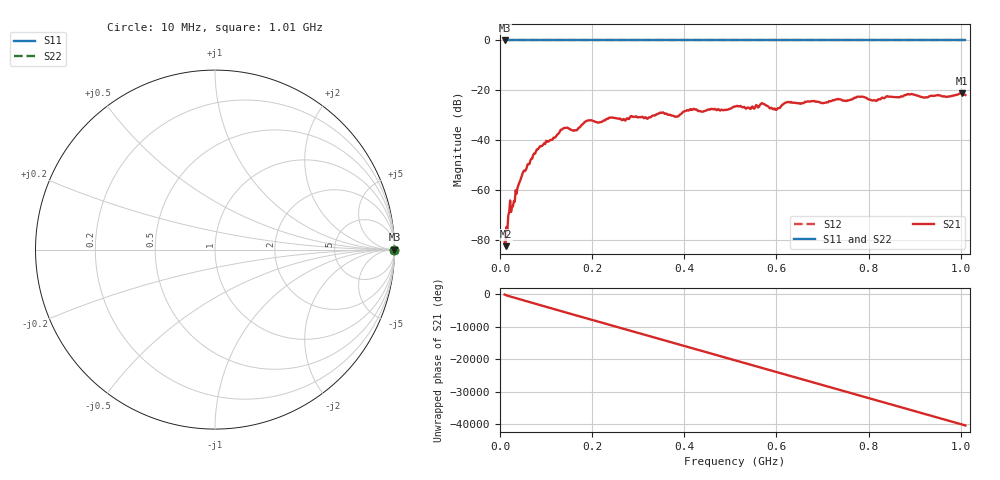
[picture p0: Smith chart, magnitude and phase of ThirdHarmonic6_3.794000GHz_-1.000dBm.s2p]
! 8/17/2025 1:06:44 PM
! C:\ANRITSUVNA\TEMP\TEMP.S2P
! CHANNEL.1
! TR.MEASUREMENT
! RAW.DATA
! RF.CORRECTION.OFF
! AVERAGING.OFF
! IF.BANDWIDTH: 5KHZ
! SWEEPTYPE:  FREQ.SWEEP(Linear)
! Reference Plane Port Info
! PORT:  PORT1  PORT2
! DISTANCE:  0  m  0  m
! TIME:  0  s  0  s
! PHASE.OFFSET:  0  deg.  0  deg.
! LOSS:  0  dB  0  dB
! REF.LOSS:  0  dB  0  dB
! REF.FREQ:  0  Hz  0  Hz
! Power Info
! POWER:  -20  dBm  -20  dBm
! EFF.POWER:  -20  dBm  -20  dBm
! SOURCE.ATTEN:  0  dB  0  dB
! TEST.ATTEN:  0  dB  0  dB
# GHZ S RI R 50.0
! FREQ.GHZ  S11RE  S11IM  S21RE  S21IM  S12RE  S12IM  S22RE  S22IM
!; PortSelection: Port_12
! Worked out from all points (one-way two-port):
!   501 points, 10 MHz to 1.01 GHz, reference 50 ohm
!   highest |S21| = -21.17 dB at 1.002 GHz (marker M1); lowest = -82.4 dB at 12 MHz (marker M2)
!   lowest |S11| = 0.0 dB at 10 MHz (marker M3)
!   |S11| at or under -10 dB: nowhere
!   |S22| runs from 0.0 to 0.0 dB; largest |S21 - S12| = 1.1
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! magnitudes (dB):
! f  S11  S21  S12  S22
! 10 MHz  0.0  -80.9  0.0  0.0
! 12 MHz  0.0  -82.4  0.0  0.0
! 22 MHz  0.0  -64.1  0.0  0.0
! 28 MHz  0.0  -66.5  0.0  0.0
! 38 MHz  0.0  -59.0  0.0  0.0
! 50 MHz  0.0  -52.8  0.0  0.0
! 76 MHz  0.0  -45.4  0.0  0.0
! 136 MHz  0.0  -35.5  0.0  0.0
! 164 MHz  0.0  -36.0  0.0  0.0
! 178 MHz  0.0  -33.7  0.0  0.0
! 194 MHz  0.0  -32.0  0.0  0.0
! 344 MHz  0.0  -29.3  0.0  0.0
! 384 MHz  0.0  -30.5  0.0  0.0
! 416 MHz  0.0  -27.8  0.0  0.0
! 510 MHz  0.0  -26.5  0.0  0.0
! 570 MHz  0.0  -25.3  0.0  0.0
! 596 MHz  0.0  -27.3  0.0  0.0
! 622 MHz  0.0  -24.8  0.0  0.0
! 678 MHz  0.0  -24.3  0.0  0.0
! 844 MHz  0.0  -22.5  0.0  0.0
! 1.002 GHz  0.0  -21.2  0.0  0.0
! 1.01 GHz  0.0  -21.9  0.0  0.0
